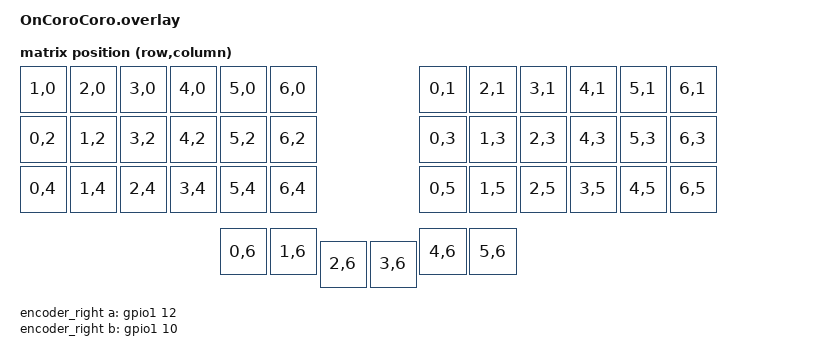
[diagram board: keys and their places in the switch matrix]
#include <dt-bindings/zmk/input_transform.h>
#include <input/processors.dtsi>
#include <dt-bindings/zmk/matrix_transform.h>
#include <physical_layouts.dtsi>
#include <zephyr/dt-bindings/input/input-event-codes.h>


// layers
#define DEFAULT 0
#define SYMBOL 1
#define NAVNUM 2
#define FCN 3
#define DEVICE 4
#define MOUSE 5

/ {
    chosen {
        zmk,kscan = &kscan0;
        zmk,physical-layout = &physical_layout0;
    };

    kscan0: kscan_0 {
        compatible = "zmk,kscan-gpio-charlieplex";
        wakeup-source;
        interrupt-gpios = <&gpio0 10 (GPIO_ACTIVE_HIGH | GPIO_PULL_DOWN) >;
        gpios
            = <&gpio0 2 GPIO_ACTIVE_HIGH>
            , <&gpio0 3 GPIO_ACTIVE_HIGH>
            , <&gpio0 28 GPIO_ACTIVE_HIGH>
            , <&gpio0 29 GPIO_ACTIVE_HIGH>
            , <&gpio0 4 GPIO_ACTIVE_HIGH>
            , <&gpio0 5 GPIO_ACTIVE_HIGH>
            , <&gpio1 14 GPIO_ACTIVE_HIGH>
            ;
    };

    default_transform: matrix_transform {
        compatible = "zmk,matrix-transform";
        rows = <7>;
        columns = <7>;
        map = <
            RC(1,0) RC(2,0) RC(3,0) RC(4,0) RC(5,0) RC(6,0) RC(0,1) RC(2,1) RC(3,1) RC(4,1) RC(5,1) RC(6,1)
            RC(0,2) RC(1,2) RC(3,2) RC(4,2) RC(5,2) RC(6,2) RC(0,3) RC(1,3) RC(2,3) RC(4,3) RC(5,3) RC(6,3)
            RC(0,4) RC(1,4) RC(2,4) RC(3,4) RC(5,4) RC(6,4) RC(0,5) RC(1,5) RC(2,5) RC(3,5) RC(4,5) RC(6,5)
                             RC(0,6) RC(1,6) RC(2,6) RC(3,6) RC(4,6) RC(5,6)

        >;
    };

    physical_layout0: physical_layout_0 {
        compatible = "zmk,physical-layout";
        display-name = "Default Layout";

        transform = <&default_transform>;
        kscan = <&kscan0>;

        keys  //                     w   h    x    y     rot    rx    ry
            = <&key_physical_attrs 100 100    0    0       0     0     0>
            , <&key_physical_attrs 100 100  100    0       0     0     0>
            , <&key_physical_attrs 100 100  200    0       0     0     0>
            , <&key_physical_attrs 100 100  300    0       0     0     0>
            , <&key_physical_attrs 100 100  400    0       0     0     0>
            , <&key_physical_attrs 100 100  500    0       0     0     0>

            , <&key_physical_attrs 100 100  800    0       0     0     0>
            , <&key_physical_attrs 100 100  900    0       0     0     0>
            , <&key_physical_attrs 100 100 1000    0       0     0     0>
            , <&key_physical_attrs 100 100 1100    0       0     0     0>
            , <&key_physical_attrs 100 100 1200    0       0     0     0>
            , <&key_physical_attrs 100 100 1300    0       0     0     0>


            , <&key_physical_attrs 100 100    0  100       0     0     0>
            , <&key_physical_attrs 100 100  100  100       0     0     0>
            , <&key_physical_attrs 100 100  200  100       0     0     0>
            , <&key_physical_attrs 100 100  300  100       0     0     0>
            , <&key_physical_attrs 100 100  400  100       0     0     0>
            , <&key_physical_attrs 100 100  500  100       0     0     0>

            , <&key_physical_attrs 100 100  800  100       0     0     0>
            , <&key_physical_attrs 100 100  900  100       0     0     0>
            , <&key_physical_attrs 100 100 1000  100       0     0     0>
            , <&key_physical_attrs 100 100 1100  100       0     0     0>
            , <&key_physical_attrs 100 100 1200  100       0     0     0>
            , <&key_physical_attrs 100 100 1300  100       0     0     0>


            , <&key_physical_attrs 100 100    0  200       0     0     0>
            , <&key_physical_attrs 100 100  100  200       0     0     0>
            , <&key_physical_attrs 100 100  200  200       0     0     0>
            , <&key_physical_attrs 100 100  300  200       0     0     0>
            , <&key_physical_attrs 100 100  400  200       0     0     0>
            , <&key_physical_attrs 100 100  500  200       0     0     0>

            , <&key_physical_attrs 100 100  800  200       0     0     0>
            , <&key_physical_attrs 100 100  900  200       0     0     0>
            , <&key_physical_attrs 100 100 1000  200       0     0     0>
            , <&key_physical_attrs 100 100 1100  200       0     0     0>
            , <&key_physical_attrs 100 100 1200  200       0     0     0>
            , <&key_physical_attrs 100 100 1300  200       0     0     0>
            

            , <&key_physical_attrs 100 100  400  325       0     0     0>
            , <&key_physical_attrs 100 100  500  325       0     0     0>
            , <&key_physical_attrs 100 100  600  350       0     0     0>
            , <&key_physical_attrs 100 100  700  350       0     0     0>
            , <&key_physical_attrs 100 100  800  325       0     0     0>
            , <&key_physical_attrs 100 100  900  325       0     0     0>
            ;
    };

    position_map {
        compatible = "zmk,physical-layout-position-map";

        complete;

        layout1: layout1 {
            physical-layout = <&physical_layout0>;
            positions
                = < 0  1  2  3  4  5        6  7  8  9  10 11 >
                , < 12 13 14 15 16 17       18 19 20 21 22 23 >
                , < 24 25 26 27 28 29       30 31 32 33 34 35 >
                , <             36 37 38 39 40 41          >
                ;
        };
    };

    // encoder_left: encoder_left {
    //     compatible = "alps,ec11";
    //     a-gpios = <&gpio0 16 (GPIO_ACTIVE_HIGH | GPIO_PULL_UP)>;
    //     b-gpios = <&gpio1 0 (GPIO_ACTIVE_HIGH | GPIO_PULL_UP)>;
    //     steps = <96>;
    //     status = "disabled";
    // };

    encoder_right: encoder_right {
        compatible = "alps,ec11";
        a-gpios = <&gpio1 12 (GPIO_ACTIVE_HIGH | GPIO_PULL_UP)>;
        b-gpios = <&gpio1 10 (GPIO_ACTIVE_HIGH | GPIO_PULL_UP)>;
        steps = <96>;
        status = "disabled";
    };

    sensors: sensors {
        compatible = "zmk,keymap-sensors";
        // sensors = <&encoder_left>;
        sensors = <&encoder_right>;
        // sensors = <&encoder_left &encoder_right>;
        triggers-per-rotation = <24>;
    };
};

&gpio0 {
    fastbatcharge: fast-battery-charge {
        gpio-hog;
        gpios = <13 GPIO_ACTIVE_HIGH>;
        output-low;
        line-name = "Fast Battery Charge";
    };
};

///////////////////////////////////////////////////////////////////////////////////
&pinctrl {
    spi0_default: spi0_default {
        group1 {
            psels = <NRF_PSEL(SPIM_SCK, 1, 13)>,
                    <NRF_PSEL(SPIM_MOSI, 1, 15)>,
                    <NRF_PSEL(SPIM_MISO, 1, 15)>;
        };
    };

    spi0_sleep: spi0_sleep {
        group1 {
            psels = <NRF_PSEL(SPIM_SCK, 1, 13)>,
                    <NRF_PSEL(SPIM_MOSI, 1, 15)>,
                    <NRF_PSEL(SPIM_MISO, 1, 15)>;
            low-power-enable;
        };
    };
};

&uart0 {
    status = "disabled";
};

&xiao_serial {
    status = "disabled";
};

&spi0 {
    compatible = "nordic,nrf-spim";
    status = "disabled";
    trackball_center: trackball_center@0 {
        compatible = "pixart,pmw3610";
        status = "disabled";
        reg = <0>;
        spi-max-frequency = <2000000>;
    };
    trackball_left: trackball_left@1 {
        compatible = "pixart,pmw3610";
        status = "disabled";
        reg = <1>;
        spi-max-frequency = <2000000>;
    };
    // trackball_right: trackball_right@1 {
    //     compatible = "pixart,pmw3610";
    //     status = "disabled";
    //     reg = <1>;
    //     spi-max-frequency = <2000000>;
    // };
};

&spi0 {
    status = "okay";
    pinctrl-0 = <&spi0_default>;
    pinctrl-1 = <&spi0_sleep>;
    pinctrl-names = "default", "sleep";
    // cs-gpios = <&gpio1 11 GPIO_ACTIVE_LOW>; // center trackball
    // cs-gpios = <&gpio1 11 GPIO_ACTIVE_LOW>, <&gpio1 12 GPIO_ACTIVE_LOW>; // center+right trackball
    cs-gpios = <&gpio1 11 GPIO_ACTIVE_LOW>, <&gpio0 16 GPIO_ACTIVE_LOW>; // center+left trackball
};

&trackball_center { // center trackball
    status = "okay";
    irq-gpios = <&gpio0 9 (GPIO_ACTIVE_LOW | GPIO_PULL_UP)>;
    cpi = <800>;
    evt-type = <INPUT_EV_REL>;
    x-input-code = <INPUT_REL_X>;
    y-input-code = <INPUT_REL_Y>;

    force-awake;
};

// &trackball_right { // right trackball
//     status = "okay";
//     irq-gpios = <&gpio1 10 (GPIO_ACTIVE_LOW | GPIO_PULL_UP)>;
//     cpi = <800>;
//     evt-type = <INPUT_EV_REL>;
//     x-input-code = <INPUT_REL_X>;
//     y-input-code = <INPUT_REL_Y>;
// };

&encoder_right {
    status = "okay";
};

&trackball_left { // left trackball
    status = "okay";
    irq-gpios = <&gpio1 0 (GPIO_ACTIVE_LOW | GPIO_PULL_UP)>;
    cpi = <800>;
    evt-type = <INPUT_EV_REL>;
    x-input-code = <INPUT_REL_X>;
    y-input-code = <INPUT_REL_Y>;

    // force-awake;
};

// &encoder_left {
//     status = "disabled";
// };


/ {
  trackball_listener: trackball_listner {
    compatible = "zmk,input-listener";
    device = <&trackball_center>;
    // input-processors = <&zip_xy_transform (INPUT_TRANSFORM_X_INVERT)>, <&zip_temp_layer MOUSE 1000>; // auto mouse layer
    input-processors = <&zip_xy_transform (INPUT_TRANSFORM_X_INVERT)>;

    scroll {
        layers = <SYMBOL>;
        input-processors = <&zip_xy_transform (INPUT_TRANSFORM_X_INVERT)>,<&zip_xy_transform (INPUT_TRANSFORM_Y_INVERT)>, <&zip_xy_scaler 1 10>, <&zip_xy_to_scroll_mapper>;
        process-next;
    };

  };
  trackball_listener2: trackball_listner2 {
    compatible = "zmk,input-listener";
    device = <&trackball_left>;
    // device = <&trackball_right>;

    scroll {
        layers = <DEFAULT>;
        input-processors = <&zip_xy_transform (INPUT_TRANSFORM_Y_INVERT)>, <&zip_xy_transform (INPUT_TRANSFORM_X_INVERT)>, <&zip_xy_scaler 1 20>, <&zip_xy_to_scroll_mapper>;
        process-next;
    };
  };
}; 
